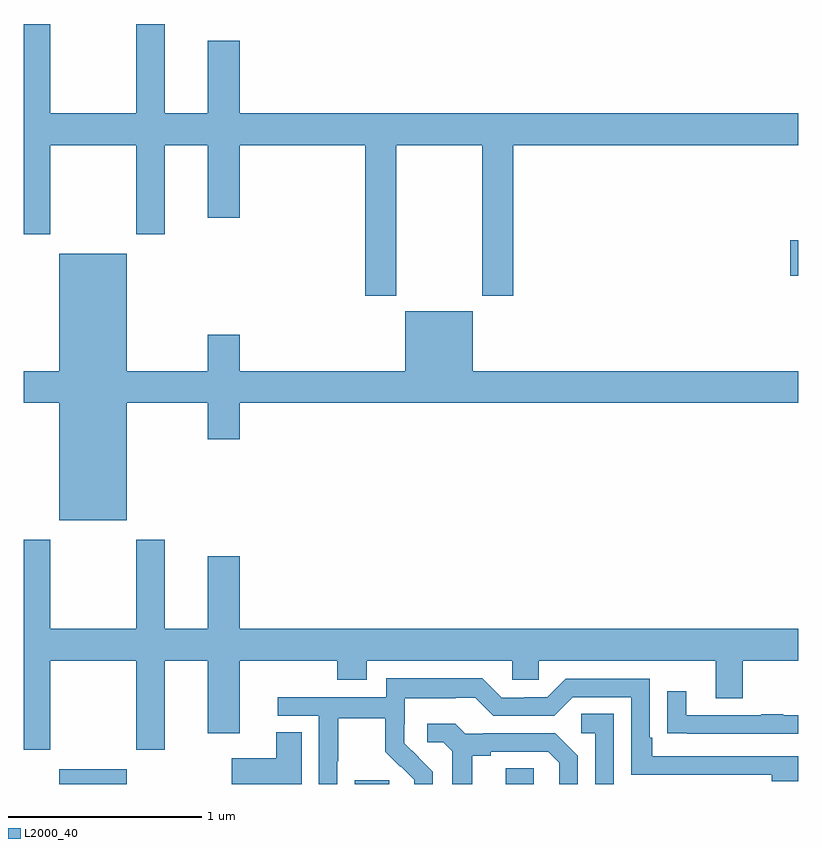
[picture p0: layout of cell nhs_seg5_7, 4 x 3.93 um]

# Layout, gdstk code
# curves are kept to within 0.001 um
import gdstk
lib = gdstk.Library(unit=1e-6, precision=1e-09)
def R(c, l, rs):  # rectangles x0, y0, x1, y1
    for r in rs: c.add(gdstk.rectangle(r[:2], r[2:], *l))
def P(c, l, *ps):  # polygons
    for p in ps: c.add(gdstk.Polygon(p, *l))
L2000_40 = (2000, 40)

nhs_seg5_7 = lib.new_cell('nhs_seg5_7')
R(nhs_seg5_7, L2000_40, [(111.182,846.799,111.532,846.874), (112.709,846.799,112.888,846.819), (113.489,846.799,113.634,846.881), (114.96,849.425,115,849.608)])
P(nhs_seg5_7, L2000_40, [(112.923,850.1),(113.368,850.1),(113.368,849.321),(113.528,849.321),(113.528,850.1),(115,850.1),(115,850.264),(112.114,850.264),(112.114,850.639),(111.95,850.639),(111.95,850.264),(111.727,850.264),(111.727,850.726),(111.58,850.726),(111.58,850.264),(111.135,850.264),(111.135,850.726),(111,850.726),(111,849.639),(111.135,849.639),(111.135,850.1),(111.58,850.1),(111.58,849.639),(111.727,849.639),(111.727,850.1),(111.95,850.1),(111.95,849.726),(112.114,849.726),(112.114,850.1),(112.763,850.1),(112.763,849.321),(112.923,849.321)],
  [(111.532,848.768),(111.95,848.768),(111.95,848.58),(112.114,848.58),(112.114,848.768),(115,848.768),(115,848.932),(113.32,848.932),(113.32,849.241),(112.97,849.241),(112.97,848.932),(112.114,848.932),(112.114,849.121),(111.95,849.121),(111.95,848.932),(111.532,848.932),(111.532,849.538),(111.182,849.538),(111.182,848.932),(111,848.932),(111,848.768),(111.182,848.768),(111.182,848.162),(111.532,848.162)],
  [(111.135,847.436),(111.58,847.436),(111.58,846.975),(111.727,846.975),(111.727,847.436),(111.95,847.436),(111.95,847.062),(112.114,847.062),(112.114,847.436),(112.619,847.436),(112.619,847.337),(112.771,847.337),(112.771,847.436),(113.523,847.436),(113.523,847.338),(113.661,847.338),(113.661,847.436),(114.575,847.436),(114.575,847.242),(114.715,847.242),(114.715,847.436),(115,847.436),(115,847.6),(112.114,847.6),(112.114,847.975),(111.95,847.975),(111.95,847.6),(111.727,847.6),(111.727,848.062),(111.58,848.062),(111.58,847.6),(111.135,847.6),(111.135,848.062),(111,848.062),(111,846.975),(111.135,846.975)],
  [(112.62,846.916),(112.623,846.916),(112.623,847.14),(112.867,847.14),(112.867,846.965),(112.944,846.888),(112.947,846.891),(113.018,846.821),(113.018,846.799),(113.112,846.799),(113.112,846.862),(112.966,847.01),(112.966,847.107),(112.968,847.107),(112.968,847.241),(113.231,847.241),(113.231,847.245),(113.331,847.245),(113.424,847.152),(113.739,847.152),(113.835,847.248),(114.138,847.248),(114.138,846.846),(114.863,846.846),(114.863,846.812),(115,846.812),(115,846.942),(114.247,846.942),(114.247,847.039),(114.234,847.039),(114.234,847.344),(113.799,847.344),(113.703,847.248),(113.585,847.248),(113.585,847.245),(113.469,847.245),(113.369,847.345),(112.872,847.345),(112.872,847.248),(112.311,847.248),(112.311,847.152),(112.524,847.152),(112.524,846.799),(112.62,846.799)],
  [(115,847.155),(114.923,847.155),(114.923,847.16),(114.811,847.16),(114.811,847.155),(114.421,847.155),(114.421,847.279),(114.325,847.279),(114.325,847.06),(114.427,847.06),(114.427,847.059),(115,847.059)],
  [(114.048,847.163),(113.88,847.163),(113.88,847.062),(113.952,847.062),(113.952,846.799),(114.048,846.799)],
  [(113.317,846.944),(113.413,846.944),(113.413,846.966),(113.708,846.966),(113.765,846.909),(113.765,846.799),(113.862,846.799),(113.862,846.946),(113.746,847.062),(113.374,847.062),(113.374,847.059),(113.28,847.059),(113.228,847.111),(113.085,847.111),(113.085,847.014),(113.166,847.014),(113.213,846.967),(113.213,846.799),(113.317,846.799)],
  [(112.435,847.067),(112.304,847.067),(112.304,846.931),(112.074,846.931),(112.074,846.799),(112.435,846.799)])

lib.write_gds('nhs_seg5_7.gds')
